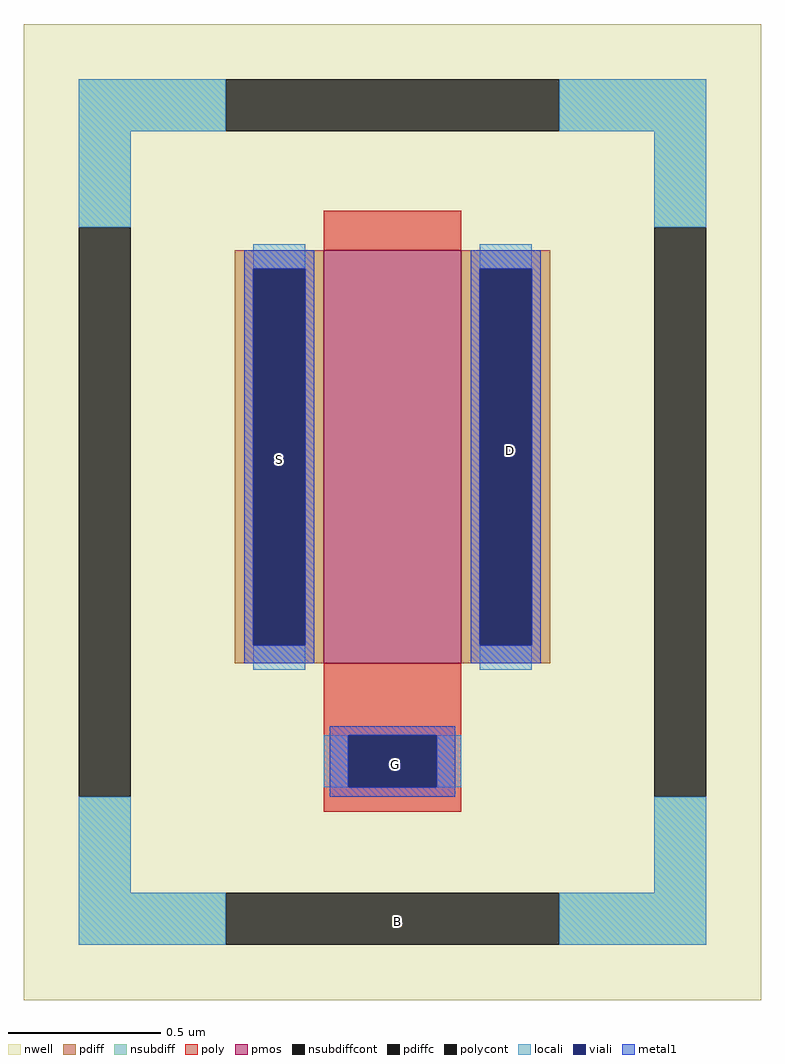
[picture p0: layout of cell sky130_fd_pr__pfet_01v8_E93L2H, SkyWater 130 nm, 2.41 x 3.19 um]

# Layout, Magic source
magic
tech sky130A
magscale 1 2
<< nwell >>
rect -241 -319 241 319
<< pmos >>
rect -45 -99 45 171
<< pdiff >>
rect -103 159 -45 171
rect -103 -87 -91 159
rect -57 -87 -45 159
rect -103 -99 -45 -87
rect 45 159 103 171
rect 45 -87 57 159
rect 91 -87 103 159
rect 45 -99 103 -87
<< pdiffc >>
rect -91 -87 -57 159
rect 57 -87 91 159
<< nsubdiff >>
rect -205 249 -109 283
rect 109 249 205 283
rect -205 186 -171 249
rect 171 186 205 249
rect -205 -249 -171 -186
rect 171 -249 205 -186
rect -205 -283 -109 -249
rect 109 -283 205 -249
<< nsubdiffcont >>
rect -109 249 109 283
rect -205 -186 -171 186
rect 171 -186 205 186
rect -109 -283 109 -249
<< poly >>
rect -45 171 45 197
rect -45 -146 45 -99
rect -45 -180 -29 -146
rect 29 -180 45 -146
rect -45 -196 45 -180
<< polycont >>
rect -29 -180 29 -146
<< locali >>
rect -205 249 -109 283
rect 109 249 205 283
rect -205 186 -171 249
rect 171 186 205 249
rect -91 159 -57 175
rect -91 -103 -57 -87
rect 57 159 91 175
rect 57 -103 91 -87
rect -45 -180 -29 -146
rect 29 -180 45 -146
rect -205 -249 -171 -186
rect 171 -249 205 -186
rect -205 -283 -109 -249
rect 109 -283 205 -249
<< viali >>
rect -91 -87 -57 159
rect 57 -87 91 159
rect -29 -180 29 -146
<< metal1 >>
rect -97 159 -51 171
rect -97 -87 -91 159
rect -57 -87 -51 159
rect -97 -99 -51 -87
rect 51 159 97 171
rect 51 -87 57 159
rect 91 -87 97 159
rect 51 -99 97 -87
rect -41 -146 41 -140
rect -41 -180 -29 -146
rect 29 -180 41 -146
rect -41 -186 41 -180
<< labels >>
flabel metal1 s 2 -165 2 -165 0 FreeSans 480 0 0 0 G
port 0 nsew
flabel metal1 s 77 40 77 40 0 FreeSans 480 0 0 0 D
port 1 nsew
flabel metal1 s -74 34 -74 34 0 FreeSans 480 0 0 0 S
port 2 nsew
flabel locali s 3 -268 3 -268 0 FreeSans 480 0 0 0 B
port 3 nsew
<< properties >>
string FIXED_BBOX -188 -266 188 266
string gencell sky130_fd_pr__pfet_01v8
string library sky130
string parameters w 1.35 l 0.45 m 1 nf 1 diffcov 100 polycov 100 guard 1 glc 1 grc 1 gtc 1 gbc 1 tbcov 100 rlcov 100 topc 0 botc 1 poverlap 0 doverlap 1 lmin 0.15 wmin 0.42 compatible {sky130_fd_pr__pfet_01v8  sky130_fd_pr__pfet_01v8_lvt sky130_fd_pr__pfet_01v8_hvt  sky130_fd_pr__pfet_g5v0d10v5} full_metal 1 viasrc 100 viadrn 100 viagate 100 viagb 0 viagr 0 viagl 0 viagt 0
<< end >>
